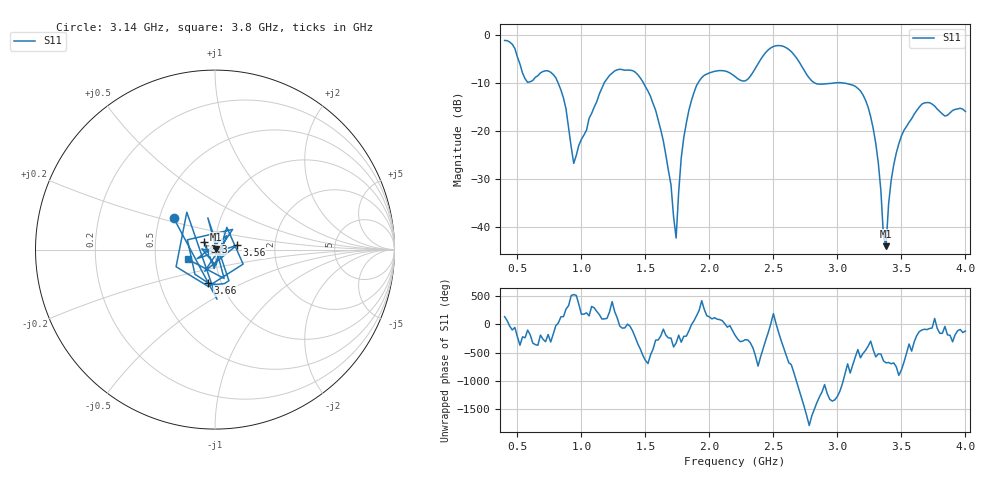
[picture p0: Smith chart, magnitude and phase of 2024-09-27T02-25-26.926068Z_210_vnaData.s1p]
!Created with skrf (http://scikit-rf.org).
# Hz S RI R 50.0
!freq ReS11 ImS11
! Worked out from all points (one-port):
!   181 points, 400 MHz to 4 GHz, reference 50 ohm
!   lowest |S11| = -44.0 dB at 3.38 GHz (marker M1), VSWR 1.01, Z = 50.5 + j0.397 ohm
!   |S11| at or under -10 dB: 817.8 MHz to 1.178 GHz (360.5 MHz wide, 36.1 % of centre); 1.484 GHz to 1.912 GHz (427.3 MHz wide, 25.2 % of centre); 3.036 GHz to end of sweep (the widest 3 of 4)
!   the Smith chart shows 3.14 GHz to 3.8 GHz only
!   S11 on the Smith chart (normalised r, x): 3.14 GHz: 0.59, +0.23; 3.3 GHz: 0.88, +0.08; 3.56 GHz: 1.27, +0.06; 3.66 GHz: 0.87, -0.33; 3.8 GHz: 0.74, -0.08
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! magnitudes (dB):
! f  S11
! 400 MHz  -1.2
! 580 MHz  -9.9
! 740 MHz  -7.5
! 860 MHz  -13.2
! 940 MHz  -26.8
! 1.18 GHz  -9.9
! 1.3 GHz  -7.2
! 1.44 GHz  -8.3
! 1.58 GHz  -15.7
! 1.7 GHz  -31.3
! 1.74 GHz  -42.4
! 1.76 GHz  -32.8
! 1.8 GHz  -21.4
! 1.9 GHz  -10.5
! 2.2 GHz  -8.7
! 2.5 GHz  -2.4
! 2.66 GHz  -4.1
! 2.82 GHz  -10.0
! 3.1 GHz  -10.3
! 3.14 GHz  -10.7
! 3.3 GHz  -22.7
! 3.36 GHz  -42.0
! 3.38 GHz  -44.0
! 3.44 GHz  -27.1
! 3.56 GHz  -18.2
! 3.66 GHz  -14.4
! 3.8 GHz  -16.0
! 4 GHz  -16.0
